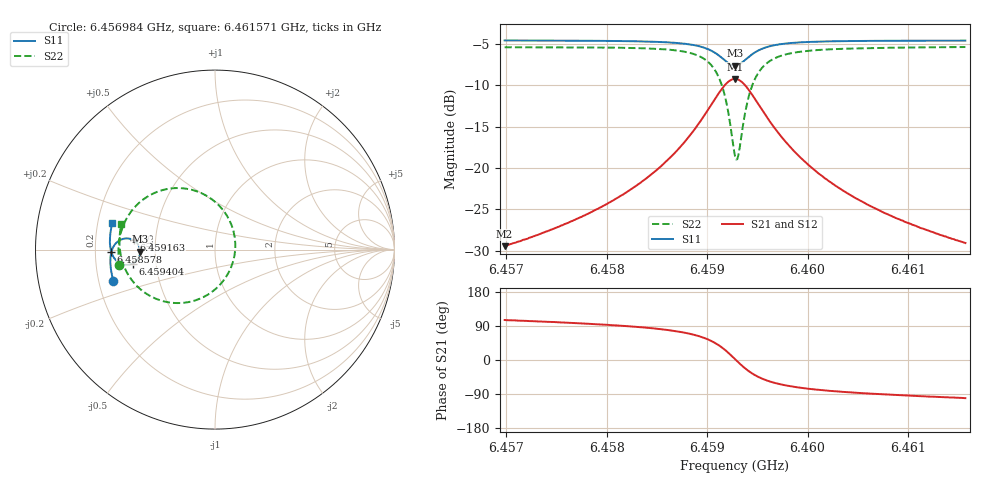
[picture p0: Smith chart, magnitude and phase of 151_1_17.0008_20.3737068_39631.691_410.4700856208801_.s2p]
#  HZ  S  RI  R  50.00
! Rohde & Schwarz Vector Network Analyzer
! Rohde-Schwarz,ZNB20-2Port,1311601062101988,3.16
! Created: UTC 3/20/2024, 10:58:50 PM
! freq[Hz]  re:S11  im:S11  re:S21  im:S21  re:S12  im:S12  re:S22  im:S22
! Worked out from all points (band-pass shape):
!   401 points, 6.456984 GHz to 6.461571 GHz, reference 50 ohm
!   highest |S21| = -9.21 dB at 6.459278 GHz (marker M1); lowest = -29.5 dB at 6.456984 GHz (marker M2)
!   |S21| within 3 dB of the highest: 6.459048 GHz to 6.459507 GHz (458.5 kHz wide, 0.0071 % of centre)
!   lowest |S11| = -7.6 dB at 6.459278 GHz (marker M3), VSWR 2.43, Z = 20.6 - j0.581 ohm
!   |S11| at or under -10 dB: nowhere
!   |S22| runs from -19.0 to -5.3 dB; largest |S21 - S12| = 0.014
!   S11 on the Smith chart (normalised r, x): 6.456984 GHz: 0.26, -0.14; 6.458578 GHz: 0.27, -0.01; 6.459163 GHz: 0.37, +0.05; 6.459404 GHz: 0.37, -0.07; 6.461571 GHz: 0.26, +0.12
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6.4569845e9  -0.5663 -0.1729  -0.00904 0.0324  -0.00726 0.0325  -0.5321 -0.0852
6.4577527e9  -0.5803 -0.1057  -0.00569 0.0504  -0.00319 0.0499  -0.5377 0.00473
6.458177e9  -0.5832 -0.0632  0.000231 0.0701  0.00349 0.0688  -0.5297 0.0723
6.458521e9  -0.5795 -0.0219  0.0141 0.0992  0.018 0.0963  -0.504 0.1499
6.4585783e9  -0.5777 -0.014  0.0185 0.106  0.0225 0.1029  -0.496 0.1665
6.4587847e9  -0.5647 0.0181  0.0459 0.1386  0.0501 0.1336  -0.4444 0.2393
6.4589338e9  -0.542 0.0445  0.0914 0.1693  0.0947 0.1627  -0.3608 0.3041
6.4590714e9  -0.4979 0.0622  0.1788 0.186  0.1798 0.1787  -0.2013 0.3429
6.4591631e9  -0.453 0.0519  0.2692 0.1546  0.2694 0.1487  -0.0343 0.2921
6.4592319e9  -0.4238 0.0196  0.3299 0.0824  0.3321 0.0772  0.081 0.1623
6.4592778e9  -0.4169 -0.0117  0.3462 0.0143  0.3499 0.00736  0.113 0.035
6.4592892e9  -0.4175 -0.0197  0.346 -0.00353  0.35 -0.0112  0.1126 0.00135
6.4593122e9  -0.4209 -0.0354  0.3404 -0.0384  0.3444 -0.0473  0.1014 -0.0644
6.459358e9  -0.4367 -0.0616  0.3117 -0.0984  0.3139 -0.1102  0.0434 -0.1773
6.4594039e9  -0.4588 -0.0781  0.2695 -0.1393  0.2688 -0.1525  -0.0417 -0.2522
6.4594956e9  -0.5022 -0.085  0.1846 -0.1705  0.1784 -0.1821  -0.2105 -0.2979
6.4596447e9  -0.5463 -0.0646  0.0967 -0.1567  0.0883 -0.1629  -0.378 -0.2487
6.4598052e9  -0.568 -0.0369  0.0517 -0.1288  0.0442 -0.1317  -0.4583 -0.1768
6.460046e9  -0.5808 -0.00131  0.0225 -0.0972  0.0167 -0.098  -0.5063 -0.0944
6.4604014e9  -0.5856 0.0409  0.00615 -0.0699  0.00214 -0.0694  -0.5283 -0.0132
6.4608142e9  -0.5837 0.0822  -0.00131 -0.0519  -0.00411 -0.0511  -0.5323 0.0525
6.461571e9  -0.5718 0.1495  -0.00653 -0.0346  -0.00816 -0.0338  -0.5212 0.1421
